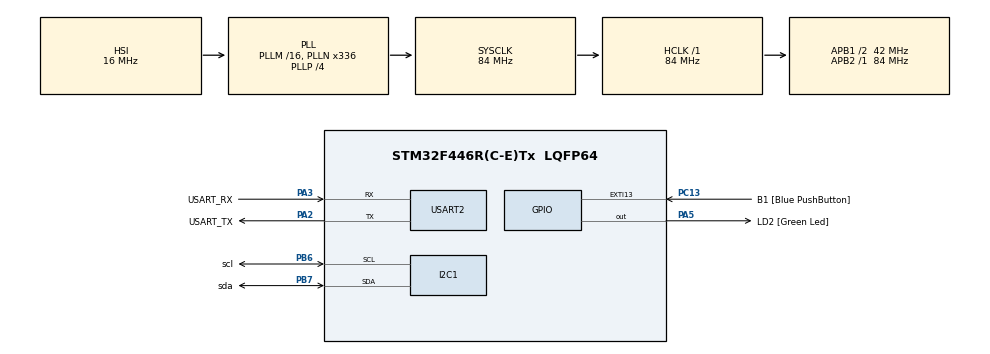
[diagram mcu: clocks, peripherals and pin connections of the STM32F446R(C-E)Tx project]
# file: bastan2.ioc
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Mcu.Family=STM32F4
Mcu.Name=STM32F446R(C-E)Tx
Mcu.Package=LQFP64
NVIC.PriorityGroup=NVIC_PRIORITYGROUP_0
PA13.GPIO_Label=TMS
PA13.Mode=Serial_Wire
PA13.Signal=SYS_JTMS-SWDIO
PA14.GPIO_Label=TCK
PA14.Mode=Serial_Wire
PA14.Signal=SYS_JTCK-SWCLK
PA2.GPIO_Label=USART_TX
PA2.Mode=Asynchronous
PA2.Signal=USART2_TX
PA3.GPIO_Label=USART_RX
PA3.Mode=Asynchronous
PA3.Signal=USART2_RX
PA5.GPIO_Label=LD2 [Green Led]
PA5.Signal=GPIO_Output
PB3.GPIO_Label=SWO
PB3.Signal=SYS_JTDO-SWO
PB6.GPIO_Label=scl
PB6.Mode=I2C
PB6.Signal=I2C1_SCL
PB7.GPIO_Label=sda
PB7.Mode=I2C
PB7.Signal=I2C1_SDA
PC13.GPIO_Label=B1 [Blue PushButton]
PC13.GPIO_ModeDefaultEXTI=GPIO_MODE_IT_FALLING
PC13.Signal=GPXTI13
PC14-OSC32_IN.Mode=LSE-External-Oscillator
PC14-OSC32_IN.Signal=RCC_OSC32_IN
PC15-OSC32_OUT.Mode=LSE-External-Oscillator
PC15-OSC32_OUT.Signal=RCC_OSC32_OUT
PH0-OSC_IN.Mode=HSE-External-Oscillator
PH0-OSC_IN.Signal=RCC_OSC_IN
PH1-OSC_OUT.Mode=HSE-External-Oscillator
PH1-OSC_OUT.Signal=RCC_OSC_OUT
ProjectManager.HeapSize=0x200
ProjectManager.StackSize=0x400
ProjectManager.TargetToolchain=STM32CubeIDE
RCC.48MHZClocksFreq_Value=84000000
RCC.AHBFreq_Value=84000000
RCC.APB1CLKDivider=RCC_HCLK_DIV2
RCC.APB1Freq_Value=42000000
RCC.APB1TimFreq_Value=84000000
RCC.APB2Freq_Value=84000000
RCC.APB2TimFreq_Value=84000000
RCC.CortexFreq_Value=84000000
RCC.FLatency-AdvancedSettings=FLASH_LATENCY_2
RCC.HCLKFreq_Value=84000000
RCC.HSE_VALUE=8000000
RCC.HSI_VALUE=16000000
RCC.PLLN=336
RCC.PLLP=RCC_PLLP_DIV4
RCC.SYSCLKFreq_VALUE=84000000
RCC.SYSCLKSource=RCC_SYSCLKSOURCE_PLLCLK
RCC.USBFreq_Value=168000000
RCC.VCOOutputFreq_Value=336000000
USART2.VirtualMode=VM_ASYNC
board=NUCLEO-F446RE

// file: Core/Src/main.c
/* USER CODE BEGIN Header */
/**
  ******************************************************************************
  * @file           : main.c
  * @brief          : Main program body
  ******************************************************************************
  * @attention
  *
  * Copyright (c) 2025 STMicroelectronics.
  * All rights reserved.
  *
  * This software is licensed under terms that can be found in the LICENSE file
  * in the root directory of this software component.
  * If no LICENSE file comes with this software, it is provided AS-IS.
  *
  ******************************************************************************
  */
/* USER CODE END Header */
#include "main.h"

I2C_HandleTypeDef hi2c1;

UART_HandleTypeDef huart2;

void SystemClock_Config(void);
static void MX_GPIO_Init(void);
static void MX_USART2_UART_Init(void);
static void MX_I2C1_Init(void);

/* USER CODE BEGIN 0 */

short AC1;
short AC2;
short AC3;
unsigned short AC4;
unsigned short AC5;
unsigned short AC6;
short B1;
short B2;
short MB;
short MC;
short MD;

long UT;

uint8_t datatowriteBP=0x34+(1<<6);
uint8_t BP1[3]={0};
long UP;
long X1,X2,B5,T;
long B6,X3,B3;
unsigned long B4,B7;
float p;
float p1;
long altitude;
float k;
char buffer[140];
/* USER CODE END 0 */

int main(void)
{

  /* MCU Configuration--------------------------------------------------------*/

  /* Reset of all peripherals, Initializes the Flash interface and the Systick. */
  HAL_Init();

  /* Configure the system clock */
  SystemClock_Config();

  /* Initialize all configured peripherals */
  MX_GPIO_Init();
  MX_USART2_UART_Init();
  MX_I2C1_Init();

  /* Infinite loop */
  while (1)
  {

  }
}

void SystemClock_Config(void)
{
  RCC_OscInitTypeDef RCC_OscInitStruct = {0};
  RCC_ClkInitTypeDef RCC_ClkInitStruct = {0};

  /** Configure the main internal regulator output voltage
  */
  __HAL_RCC_PWR_CLK_ENABLE();
  __HAL_PWR_VOLTAGESCALING_CONFIG(PWR_REGULATOR_VOLTAGE_SCALE3);

  /** Initializes the RCC Oscillators according to the specified parameters
  * in the RCC_OscInitTypeDef structure.
  */
  RCC_OscInitStruct.OscillatorType = RCC_OSCILLATORTYPE_HSI;
  RCC_OscInitStruct.HSIState = RCC_HSI_ON;
  RCC_OscInitStruct.HSICalibrationValue = RCC_HSICALIBRATION_DEFAULT;
  RCC_OscInitStruct.PLL.PLLState = RCC_PLL_ON;
  RCC_OscInitStruct.PLL.PLLSource = RCC_PLLSOURCE_HSI;
  RCC_OscInitStruct.PLL.PLLM = 16;
  RCC_OscInitStruct.PLL.PLLN = 336;
  RCC_OscInitStruct.PLL.PLLP = RCC_PLLP_DIV4;
  RCC_OscInitStruct.PLL.PLLQ = 2;
  RCC_OscInitStruct.PLL.PLLR = 2;
  if (HAL_RCC_OscConfig(&RCC_OscInitStruct) != HAL_OK)
  {
    Error_Handler();
  }

  /** Initializes the CPU, AHB and APB buses clocks
  */
  RCC_ClkInitStruct.ClockType = RCC_CLOCKTYPE_HCLK|RCC_CLOCKTYPE_SYSCLK
                              |RCC_CLOCKTYPE_PCLK1|RCC_CLOCKTYPE_PCLK2;
  RCC_ClkInitStruct.SYSCLKSource = RCC_SYSCLKSOURCE_PLLCLK;
  RCC_ClkInitStruct.AHBCLKDivider = RCC_SYSCLK_DIV1;
  RCC_ClkInitStruct.APB1CLKDivider = RCC_HCLK_DIV2;
  RCC_ClkInitStruct.APB2CLKDivider = RCC_HCLK_DIV1;

  if (HAL_RCC_ClockConfig(&RCC_ClkInitStruct, FLASH_LATENCY_2) != HAL_OK)
  {
    Error_Handler();
  }
}

static void MX_I2C1_Init(void)
{

  hi2c1.Instance = I2C1;
  hi2c1.Init.ClockSpeed = 100000;
  hi2c1.Init.DutyCycle = I2C_DUTYCYCLE_2;
  hi2c1.Init.OwnAddress1 = 0;
  hi2c1.Init.AddressingMode = I2C_ADDRESSINGMODE_7BIT;
  hi2c1.Init.DualAddressMode = I2C_DUALADDRESS_DISABLE;
  hi2c1.Init.OwnAddress2 = 0;
  hi2c1.Init.GeneralCallMode = I2C_GENERALCALL_DISABLE;
  hi2c1.Init.NoStretchMode = I2C_NOSTRETCH_DISABLE;
  if (HAL_I2C_Init(&hi2c1) != HAL_OK)
  {
    Error_Handler();
  }

}

static void MX_USART2_UART_Init(void)
{

  huart2.Instance = USART2;
  huart2.Init.BaudRate = 115200;
  huart2.Init.WordLength = UART_WORDLENGTH_8B;
  huart2.Init.StopBits = UART_STOPBITS_1;
  huart2.Init.Parity = UART_PARITY_NONE;
  huart2.Init.Mode = UART_MODE_TX_RX;
  huart2.Init.HwFlowCtl = UART_HWCONTROL_NONE;
  huart2.Init.OverSampling = UART_OVERSAMPLING_16;
  if (HAL_UART_Init(&huart2) != HAL_OK)
  {
    Error_Handler();
  }

}

static void MX_GPIO_Init(void)
{
  GPIO_InitTypeDef GPIO_InitStruct = {0};

  /* GPIO Ports Clock Enable */
  __HAL_RCC_GPIOC_CLK_ENABLE();
  __HAL_RCC_GPIOH_CLK_ENABLE();
  __HAL_RCC_GPIOA_CLK_ENABLE();
  __HAL_RCC_GPIOB_CLK_ENABLE();

  /*Configure GPIO pin Output Level */
  HAL_GPIO_WritePin(LD2_GPIO_Port, LD2_Pin, GPIO_PIN_RESET);

  /*Configure GPIO pin : B1_Pin */
  GPIO_InitStruct.Pin = B1_Pin;
  GPIO_InitStruct.Mode = GPIO_MODE_IT_FALLING;
  GPIO_InitStruct.Pull = GPIO_NOPULL;
  HAL_GPIO_Init(B1_GPIO_Port, &GPIO_InitStruct);

  /*Configure GPIO pin : LD2_Pin */
  GPIO_InitStruct.Pin = LD2_Pin;
  GPIO_InitStruct.Mode = GPIO_MODE_OUTPUT_PP;
  GPIO_InitStruct.Pull = GPIO_NOPULL;
  GPIO_InitStruct.Speed = GPIO_SPEED_FREQ_LOW;
  HAL_GPIO_Init(LD2_GPIO_Port, &GPIO_InitStruct);

}

void Error_Handler(void)
{
  __disable_irq();
  while (1)
  {
  }
}
